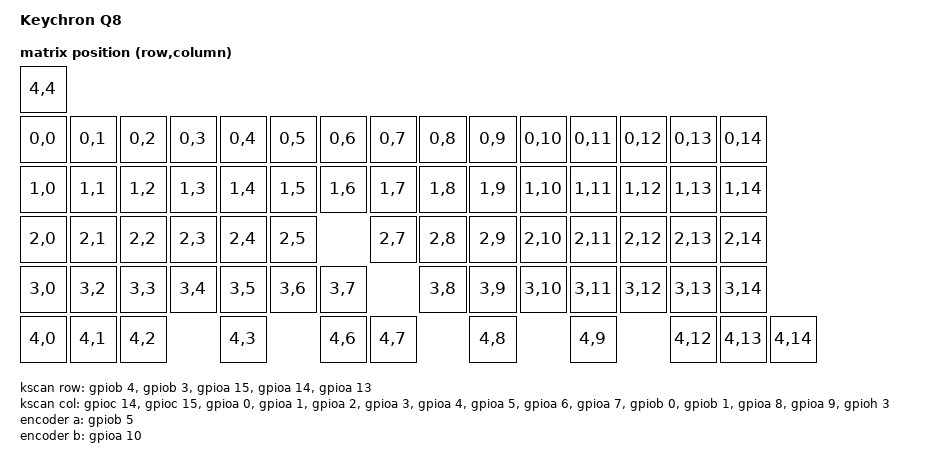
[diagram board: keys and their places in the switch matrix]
/dts-v1/;
#include <freq.h>
#include <mem.h>

#include <st/l4/stm32l432.dtsi>
#include <st/l4/stm32l432k(b-c)ux-pinctrl.dtsi>

#include <dt-bindings/zmk/matrix_transform.h>
#include <dt-bindings/zmk/ckled2001.h>

#include "keychron-layout.dtsi"

&keychron_layout {
    transform = <&transform>;
};

/ {
    model = "Keychron Q8";
    compatible = "keychron,q8", "st,stm32l032";

    chosen {
        zephyr,code-partition = &code_partition;
        zephyr,sram = &sram0;
        zephyr,flash = &flash0;
        zmk,kscan = &kscan;
        zmk,underglow = &led_strip;
    };

    sensors {
        compatible = "zmk,keymap-sensors";
        sensors = <&encoder>;
    };

    transform: transform {
        compatible = "zmk,matrix-transform";
        // "B4", "B3", "A15", "A14", "A13"
        rows = <5>;
        // "C14", "C15", "A0", "A1", "A2", "A3", "A4", "A5", "A6", "A7", "B0", "B1", "A8", "A9", "H3"
        columns = <15>;

        map = <
            RC(4,4)
            RC(0,0) RC(0,1) RC(0,2) RC(0,3) RC(0,4) RC(0,5) RC(0,6) RC(0,7) RC(0,8) RC(0,9) RC(0,10) RC(0,11) RC(0,12) RC(0,13)          RC(0,14)
            RC(1,0) RC(1,1) RC(1,2) RC(1,3) RC(1,4) RC(1,5) RC(1,6) RC(1,7) RC(1,8) RC(1,9) RC(1,10) RC(1,11) RC(1,12) RC(1,13)          RC(1,14)
            RC(2,0) RC(2,1) RC(2,2) RC(2,3) RC(2,4) RC(2,5)         RC(2,7) RC(2,8) RC(2,9) RC(2,10) RC(2,11) RC(2,12) RC(2,13)          RC(2,14)
            RC(3,0)         RC(3,2) RC(3,3) RC(3,4) RC(3,5) RC(3,6) RC(3,7) RC(3,8) RC(3,9) RC(3,10) RC(3,11) RC(3,12) RC(3,13) RC(3,14)
            RC(4,0) RC(4,1) RC(4,2)         RC(4,3)         RC(4,6) RC(4,7)         RC(4,8)          RC(4,9)           RC(4,12) RC(4,13) RC(4,14)
        >;
    };

    kscan: kscan {
        compatible = "zmk,kscan-gpio-matrix";
        diode-direction = "col2row";
        wakeup-source;
        row-gpios = <&gpiob 4 (GPIO_ACTIVE_LOW | GPIO_PULL_UP)>,
                    <&gpiob 3 (GPIO_ACTIVE_LOW | GPIO_PULL_UP)>,
                    <&gpioa 15 (GPIO_ACTIVE_LOW | GPIO_PULL_UP)>,
                    <&gpioa 14 (GPIO_ACTIVE_LOW | GPIO_PULL_UP)>,
                    <&gpioa 13 (GPIO_ACTIVE_LOW | GPIO_PULL_UP)>;
        col-gpios = <&gpioc 14 GPIO_ACTIVE_LOW>,
                    <&gpioc 15 GPIO_ACTIVE_LOW>,
                    <&gpioa 0 GPIO_ACTIVE_LOW>,
                    <&gpioa 1 GPIO_ACTIVE_LOW>,
                    <&gpioa 2 GPIO_ACTIVE_LOW>,
                    <&gpioa 3 GPIO_ACTIVE_LOW>,
                    <&gpioa 4 GPIO_ACTIVE_LOW>,
                    <&gpioa 5 GPIO_ACTIVE_LOW>,
                    <&gpioa 6 GPIO_ACTIVE_LOW>,
                    <&gpioa 7 GPIO_ACTIVE_LOW>,
                    <&gpiob 0 GPIO_ACTIVE_LOW>,
                    <&gpiob 1 GPIO_ACTIVE_LOW>,
                    <&gpioa 8 GPIO_ACTIVE_LOW>,
                    <&gpioa 9 GPIO_ACTIVE_LOW>,
                    <&gpioh 3 GPIO_ACTIVE_LOW>;
    };

    encoder: encoder {
        compatible = "alps,ec11";
        a-gpios = <&gpiob 5 (GPIO_ACTIVE_LOW | GPIO_PULL_UP)>;
        b-gpios = <&gpioa 10 (GPIO_ACTIVE_LOW | GPIO_PULL_UP)>;
        steps = <4>;
        status = "okay";
    };

    led_strip: led-strip-composite {
        compatible = "zmk,led-strip-composite";
        chain-length = <82>;
        strip-0 {
            led-strip = <&led_strip_0>;
        };
        strip-1 {
            led-strip = <&led_strip_1>;
        };
    };
};

&clk_lsi {
    status = "okay";
};

&clk_hsi {
    status = "okay";
};

&clk_hsi48 {
    status = "okay";
};

&pll {
    // https://github.com/qmk/qmk_firmware/blob/7f22cb52e3aaafde671fdb994d53914366baf31a/platforms/chibios/boards/GENERIC_STM32_L432XC/configs/mcuconf.h#L54-L59
    div-m = <1>;
    mul-n = <20>;
    div-p = <7>;
    div-q = <2>;
    div-r = <4>;
    clocks = <&clk_hsi>;
    status = "okay";
};

&rcc {
    clocks = <&pll>;
    clock-frequency = <DT_FREQ_M(80)>;
    ahb-prescaler = <1>;
    apb1-prescaler = <1>;
    apb2-prescaler = <1>;
};

&sram0 {
    reg = <0x20000000 DT_SIZE_K(48)>;
};

&usb {
    status = "okay";
    pinctrl-0 = <&usb_dm_pa11 &usb_dp_pa12>;
    pinctrl-names = "default";
};

&rtc {
    status = "okay";
};

zephyr_udc0: &usb {
    status = "okay";
};

&flash0 {
    reg = <0x8000000 DT_SIZE_K(128)>;

    partitions {
        compatible = "fixed-partitions";
        #address-cells = <1>;
        #size-cells = <1>;

        code_partition: partition@0 {
            label = "code_partition";
            reg = <DT_SIZE_K(0) DT_SIZE_K(124)>;
        };

        storage_partition: partition@1f000 {
            label = "storage";
            reg = <DT_SIZE_K(124) DT_SIZE_K(4)>;
        };
    };
};

&i2c1 {
    pinctrl-0 = <&i2c1_scl_pb6 &i2c1_sda_pb7>;
    pinctrl-names = "default";
    status = "okay";
    clock-frequency = <DT_FREQ_K(400)>;

    led_strip_0: ckled2001@77 {
        compatible = "zmk,ckled2001";
        reg = <0x77>;
        chain-length = <35>;
        #led-strip-cells = <0>;
        map = <
            /* R        G        B */
            CK(8, 0) CK(6, 0) CK(7, 0)
            CK(8, 1) CK(6, 1) CK(7, 1)
            CK(8, 2) CK(6, 2) CK(7, 2)
            CK(8, 3) CK(6, 3) CK(7, 3)
            CK(8, 4) CK(6, 4) CK(7, 4)
            CK(8, 5) CK(6, 5) CK(7, 5)
            CK(8, 6) CK(6, 6) CK(7, 6)
            CK(8, 7) CK(6, 7) CK(7, 7)
            CK(8, 8) CK(6, 8) CK(7, 8)
            CK(8, 9) CK(6, 9) CK(7, 9)
            CK(8,10) CK(6,10) CK(7,10)
            CK(8,11) CK(6,11) CK(7,11)
            CK(8,12) CK(6,12) CK(7,12)
            CK(8,13) CK(6,13) CK(7,13)
            CK(8,14) CK(6,14) CK(7,14)

            CK(5, 0) CK(3, 0) CK(4, 0)
            CK(5, 1) CK(3, 1) CK(4, 1)
            CK(5, 2) CK(3, 2) CK(4, 2)
            CK(5, 3) CK(3, 3) CK(4, 3)
            CK(5, 4) CK(3, 4) CK(4, 4)
            CK(5, 5) CK(3, 5) CK(4, 5)
            CK(5, 6) CK(3, 6) CK(4, 6)
            CK(5, 7) CK(3, 7) CK(4, 7)
            CK(5, 8) CK(3, 8) CK(4, 8)
            CK(5, 9) CK(3, 9) CK(4, 9)
            CK(5,10) CK(3,10) CK(4,10)
            CK(5,11) CK(3,11) CK(4,11)
            CK(5,12) CK(3,12) CK(4,12)
            CK(5,14) CK(3,14) CK(4,14)

            CK(2, 0) CK(0, 0) CK(1, 0)
            CK(2, 1) CK(0, 1) CK(1, 1)
            CK(2, 2) CK(0, 2) CK(1, 2)
            CK(2, 3) CK(0, 3) CK(1, 3)
            CK(2, 4) CK(0, 4) CK(1, 4)
            CK(5,13) CK(3,13) CK(4,13)
        >;
    };

    led_strip_1: ckled2001@74 {
        compatible = "zmk,ckled2001";
        reg = <0x74>;
        chain-length = <35>;
        #led-strip-cells = <0>;
        map = <
            /* R        G        B */
            CK(2, 9) CK(0, 9) CK(1, 9)
            CK(2, 7) CK(0, 7) CK(1, 7)
            CK(2, 6) CK(0, 6) CK(1, 6)
            CK(2, 5) CK(0, 5) CK(1, 5)
            CK(2, 4) CK(0, 4) CK(1, 4)
            CK(2, 3) CK(0, 3) CK(1, 3)
            CK(2, 2) CK(0, 2) CK(1, 2)
            CK(2, 1) CK(0, 1) CK(1, 1)
            CK(2, 0) CK(0, 0) CK(1, 0)

            CK(8, 14) CK(6, 14) CK(7, 14)
            CK(8, 13) CK(6, 13) CK(7, 13)
            CK(8, 12) CK(6, 12) CK(7, 12)
            CK(8, 11) CK(6, 11) CK(7, 11)
            CK(8, 10) CK(6, 10) CK(7, 10)
            CK(8,  9) CK(6,  9) CK(7,  9)
            CK(8,  8) CK(6,  8) CK(7,  8)
            CK(8,  7) CK(6,  7) CK(7,  7)
            CK(8,  6) CK(6,  6) CK(7,  6)
            CK(8,  5) CK(6,  5) CK(7,  5)
            CK(8,  4) CK(6,  4) CK(7,  4)
            CK(8,  3) CK(6,  3) CK(7,  3)
            CK(8,  2) CK(6,  2) CK(7,  2)
            CK(8,  1) CK(6,  1) CK(7,  1)
            CK(8,  0) CK(6,  0) CK(7,  0)

            CK(5, 14) CK(3, 14) CK(4, 14)
            CK(5, 13) CK(3, 13) CK(4, 13)
            CK(5, 12) CK(3, 12) CK(4, 12)
            CK(5, 11) CK(3, 11) CK(4, 11)
            CK(5,  8) CK(3,  8) CK(4,  8)
            CK(5,  7) CK(3,  7) CK(4,  7)
            CK(5,  6) CK(3,  6) CK(4,  6)
            CK(5,  5) CK(3,  5) CK(4,  5)
            CK(5,  2) CK(3,  2) CK(4,  2)
            CK(5,  1) CK(3,  1) CK(4,  1)
            CK(5,  0) CK(3,  0) CK(4,  0)
        >;
    };
};
